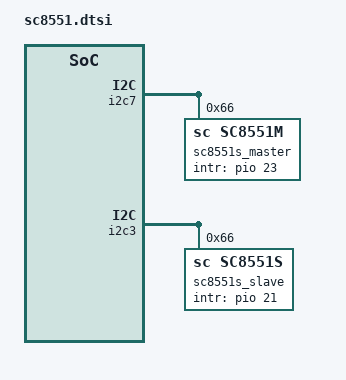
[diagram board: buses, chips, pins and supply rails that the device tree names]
/*
 * Copyright (c) 2019 MediaTek Inc.
 *
 * This program is free software; you can redistribute it and/or modify
 * it under the terms of the GNU General Public License version 2 as
 * published by the Free Software Foundation.
 *
 * This program is distributed in the hope that it will be useful,
 * but WITHOUT ANY WARRANTY; without even the implied warranty of
 * MERCHANTABILITY or FITNESS FOR A PARTICULAR PURPOSE.  See the
 * GNU General Public License for more details.
 */
&i2c7 {
	#address-cells = <1>;
	#size-cells = <0>;
	sc8551s_master@66 {
		compatible = "sc,sc8551m";
		status = "okay";
		reg = <0x66>;
		rm_name = "sc8551m";
		rm_slave_addr = /bits/ 8 <0x66>;
		sc8551m,intr-gpios = <&pio 23 0x0>;
		standalone {
			chg_name = "primary_divider_chg";
			vbatovp = <4500000>;
			vbatovp_alm = <4400000>;
			ibatocp = <6100000>;
			ibatocp_alm = <6000000>;
			ibatucp_alm = <1000000>;
			vbusovp = <10000000>;
			vbusovp_alm = <9000000>;
			ibusocp = <4250000>;
			ibusocp_alm = <4000000>;
			vacovp = <11000000>;
			wdt = <30000000>;
			ibat_rsense = <1>; /* 0: 2mohm, 1: 5mohm */
			ibusucpf_deglitch = <0>; /* 0: 10us, 1: 5ms */
			/* vbatovp_dis; */
			/* vbatovp_alm_dis; */
			/* ibatocp_dis; */
			ibatocp_alm_dis;
			ibatucp_alm_dis;
			/* vbusovp_alm_dis; */
			/* ibusocp_dis; */
			ibusocp_alm_dis;
			/* wdt_dis; */
			/* tsbusotp_dis; */
			tsbatotp_dis;
			/* tdieotp_dis; */
			/* reg_en; */
			/* voutovp_dis; */
			/* ibusadc_dis; */
			/* vbusadc_dis; */
			/* vacadc_dis; */
			/* voutadc_dis; */
			/* vbatadc_dis; */
			/* ibatadc_dis; */
			/* tsbusadc_dis; */
			/* tsbatadc_dis; */
			/* tdieadc_dis; */
		};
		master{
			chg_name = "primary_divider_chg";
			vbatovp = <4500000>;
			vbatovp_alm = <4400000>;
			ibatocp = <6100000>;
			ibatocp_alm = <6000000>;
			ibatucp_alm = <1000000>;
			vbusovp = <10000000>;
			vbusovp_alm = <9000000>;
			ibusocp = <4250000>;
			ibusocp_alm = <4000000>;
			vacovp = <11000000>;
			wdt = <1000000>;
			ibat_rsense = <1>; /* 0: 2mohm, 1: 5mohm */
			ibusucpf_deglitch = <0>; /* 0: 10us, 1: 5ms */
			vbatovp_dis;
			vbatovp_alm_dis;
			ibatocp_dis;
			ibatocp_alm_dis;
			ibatucp_alm_dis;
			vbusovp_alm_dis;
			/* ibusocp_dis; */
			ibusocp_alm_dis;
			wdt_dis;
			/* tsbusotp_dis; */
			/* tsbatotp_dis; */
			/* tdieotp_dis; */
			/* reg_en; */
			/* voutovp_dis; */
			/* ibusadc_dis; */
			/* vbusadc_dis; */
			/* vacadc_dis; */
			/* voutadc_dis; */
			vbatadc_dis;
			ibatadc_dis;
			/* tsbusadc_dis; */
			/* tsbatadc_dis; */
			/* tdieadc_dis; */
		};
	};
};
&i2c3 {
	#address-cells = <1>;
	#size-cells = <0>;
	sc8551s_slave@66 {
		compatible = "sc,sc8551s";
		status = "okay";
		reg = <0x66>;
		rm_name = "sc8551s";
		rm_slave_addr = /bits/ 8 <0x66>;
		sc8551s,intr-gpios = <&pio 21 0x0>;
		standalone {
			chg_name = "secondary_divider_chg";
			vbatovp = <4500000>;
			vbatovp_alm = <4400000>;
			ibatocp = <6100000>;
			ibatocp_alm = <6000000>;
			ibatucp_alm = <1000000>;
			vbusovp = <10000000>;
			vbusovp_alm = <9000000>;
			ibusocp = <4250000>;
			ibusocp_alm = <4000000>;
			vacovp = <11000000>;
			wdt = <30000000>;
			ibat_rsense = <1>; /* 0: 2mohm, 1: 5mohm */
			ibusucpf_deglitch = <0>; /* 0: 10us, 1: 5ms */
			/* vbatovp_dis; */
			/* vbatovp_alm_dis; */
			/* ibatocp_dis; */
			ibatocp_alm_dis;
			ibatucp_alm_dis;
			/* vbusovp_alm_dis; */
			/* ibusocp_dis; */
			ibusocp_alm_dis;
			/* wdt_dis; */
			/* tsbusotp_dis; */
			/* tsbatotp_dis; */
			/* tdieotp_dis; */
			/* reg_en; */
			/* voutovp_dis; */
			/* ibusadc_dis; */
			/* vbusadc_dis; */
			/* vacadc_dis; */
			/* voutadc_dis; */
			/* vbatadc_dis; */
			/* ibatadc_dis; */
			/* tsbusadc_dis; */
			/* tsbatadc_dis; */
			/* tdieadc_dis; */
		};
		slave{
			chg_name = "secondary_divider_chg";
			vbatovp = <4500000>;
			vbatovp_alm = <4400000>;
			ibatocp = <6100000>;
			ibatocp_alm = <6000000>;
			ibatucp_alm = <1000000>;
			vbusovp = <10000000>;
			vbusovp_alm = <9000000>;
			ibusocp = <4250000>;
			ibusocp_alm = <4000000>;
			vacovp = <11000000>;
			wdt = <1000000>;
			ibat_rsense = <1>; /* 0: 2mohm, 1: 5mohm */
			ibusucpf_deglitch = <0>; /* 0: 10us, 1: 5ms */
			vbatovp_dis;
			vbatovp_alm_dis;
			ibatocp_dis;
			ibatocp_alm_dis;
			ibatucp_alm_dis;
			vbusovp_alm_dis;
			/* ibusocp_dis; */
			ibusocp_alm_dis;
			wdt_dis;
			/* tsbusotp_dis; */
			/* tsbatotp_dis; */
			/* tdieotp_dis; */
			/* reg_en; */
			/* voutovp_dis; */
			/* ibusadc_dis; */
			/* vbusadc_dis; */
			/* vacadc_dis; */
			/* voutadc_dis; */
			vbatadc_dis;
			ibatadc_dis;
			/* tsbusadc_dis; */
			/* tsbatadc_dis; */
			/* tdieadc_dis; */
		};
	};
};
